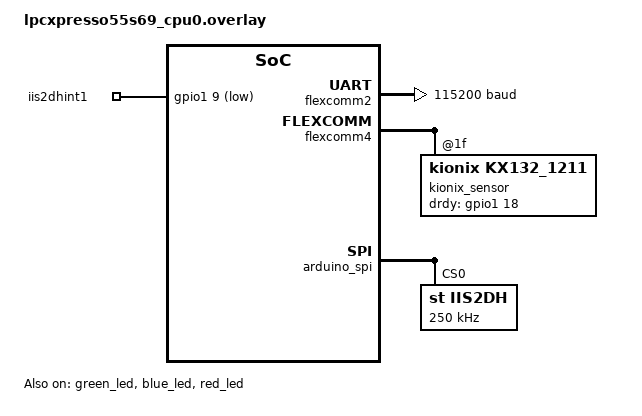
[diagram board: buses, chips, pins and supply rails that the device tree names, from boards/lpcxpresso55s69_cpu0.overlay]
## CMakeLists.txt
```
# ----------------------------------------------------------------------
# 
#   Project:  Kionix driver demo
# 
#   File:  CMakeLists.txt
# 
#   SPDX-License-Identifier: Apache-2.0
# 
#   Copyright (c) Neela Nurseries 2021 - 2022
# 
# ----------------------------------------------------------------------



#-----------------------------------------------------------------------
# - SECTION - the four stanzas from a Zephyr 'hello_world' simple app
#-----------------------------------------------------------------------

cmake_minimum_required(VERSION 3.20.0)

find_package(Zephyr REQUIRED HINTS $ENV{ZEPHYR_BASE})
project(kionix-demo-minimal)

#target_sources(app PRIVATE src/main.c)



#-----------------------------------------------------------------------
# - SECTION - development messages
#-----------------------------------------------------------------------

message(STATUS "- DEV 0923 - variable ZEPHYR_BASE holds '${ZEPHYR_BASE}'")



#-----------------------------------------------------------------------
# - SECTION - project sources
#-----------------------------------------------------------------------

# Originally called Kionix out-of-tree driver code (no new thread yet created to do this):
target_sources(app PRIVATE src/main.c)




## 2021-11-11
## https://stackoverflow.com/questions/31343813/displaying-cmake-variables

macro(print_all_variables)
    message(STATUS "print_all_variables------------------------------------------{")
    get_cmake_property(_variableNames VARIABLES)
    foreach (_variableName ${_variableNames})
        message(STATUS "${_variableName}=${${_variableName}}")
    endforeach()
    message(STATUS "print_all_variables------------------------------------------}")
endmacro()

#print_all_variables()


# --- end of CMakeLists.txt file ---
```

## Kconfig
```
# ----------------------------------------------------------------------
# 
#   Project:  Kionix driver demo
# 
#   File:  Kconfig
# 
#   SPDX-License-Identifier: Apache-2.0
# 
#   Copyright (c) Neela Nurseries 2021 - 2022
# 
##----------------------------------------------------------------------


mainmenu "Kionix Driver Demo -- samples -- kionix demo minimal"

source "Kconfig.zephyr"
```

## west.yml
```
manifest:
  remotes:
    - name: zephyrproject-rtos
      url-base: https://github.com/zephyrproject-rtos

  projects:
    - name: zephyr
      repo-path: zephyr
      remote: zephyrproject-rtos
      revision: v3.2.0
      import: true

    # Drivers repository
    - name: zephyr-driver-work-v2
      path: kionix-drivers
      revision: main
      url: https://github.com/tedhavelka/zephyr-driver-work-v2
#      import: true   ...2021-08-26 for some reason this should be commented out - TMH

  self:
    # This repository should be cloned to 
    path: kionix-driver-demo
```

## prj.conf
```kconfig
# ----------------------------------------------------------------------
# 
#   Project:  Kionix driver demo
# 
#   File:  prj.conf
# 
#   SPDX-License-Identifier: Apache-2.0
# 
#   Copyright (c) Neela Nurseries 2021 - 2022
# 
# ----------------------------------------------------------------------



##----------------------------------------------------------------------
## - SECTION - memory 
##----------------------------------------------------------------------

# Heap and stacks
CONFIG_INIT_STACKS=y
CONFIG_MAIN_STACK_SIZE=2048


##----------------------------------------------------------------------
## - SECTION - logging and diag support
##----------------------------------------------------------------------

# Logging
CONFIG_LOG=y
CONFIG_LOG_MODE_IMMEDIATE=y
CONFIG_SERIAL=y
CONFIG_CONSOLE=y
CONFIG_UART_CONSOLE=y
CONFIG_LOG_BACKEND_UART=y



##----------------------------------------------------------------------
## - SECTION - peripherals and on-chip functions
##----------------------------------------------------------------------

# CONFIG_SENSOR_LOG_LEVEL_DBG=y

# GPIO
CONFIG_GPIO=y

# Sensor related
CONFIG_I2C=y
CONFIG_SPI=y
CONFIG_SENSOR=y

CONFIG_KX132_1211=y



# --- EOF ---
```

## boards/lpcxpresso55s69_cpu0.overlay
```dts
/*
# lpc55x69 dev kit dts file of interest is zephyr/boards/arm/lpcxpresso55s69/lpcxpresso55s69.dtsi
*/

/ {
    aliases {
        uart2 = &flexcomm2;
        i2c0 = &flexcomm4;
        sensorinterrupt1 = &iis2dhint1;
        kx132-instance-1 = &kionix_sensor;
    };
};



/*
# Reference - file where flexcomm nodes enabled for lpc55s69 MCU:
# zephyr/boards/arm/lpcxpresso55s69/lpcxpresso55s69_cpu0.dts
#
# In spite of comment at
# REF https://github.com/zephyrproject-rtos/zephyr/blob/main/boards/arm/lpcxpresso55s69/lpcxpresso55s69-pinctrl.dtsi#L21
# SPI transceive calls work as expected with &flexcomm2 enabled as UART device - TMH
*/

&flexcomm2 {
    compatible = "nxp,lpc-usart";
    current-speed = <115200>;
    status = "okay";
};



/*
# See actinius_icarus_common.dts for example of calling out interrupt
#  lines for related LIS2DH sensor.
# See LPCXpresso55S69_Board_Schematic_RevA2_dec4.pdf for GPIOs available
#  on lpcxpresso55s69 dev kit.
*/

&flexcomm4 {
        kionix_sensor: kx132@1f {                /* kx132_1211@1f { */
                compatible = "kionix,kx132_1211";
                reg = <0x1F>;
                drdy-gpios = <&gpio1 18 GPIO_ACTIVE_HIGH>;
/*
#                irq-gpios = <&gpio1 18 GPIO_ACTIVE_HIGH>;
*/
        };

/*
# Note:  Ted unsure whether 'interrupt-parent' node property needed to support interrupts */
/*
#        stmicro_sensor: iis2dh@18 {
#                compatible = "st,iis2dh";
#                reg = <0x18>;
#                interrupt-parent = <&gpio1>;
#                drdy-gpios = <&gpio1 9 GPIO_ACTIVE_LOW>, <&gpio1 10 GPIO_ACTIVE_LOW>;
#        };
*/
};



/*
# 2022-11-08 work to manually add an interrupt in Zephyr code testing IIS2DH, outside of sensor API calls.
# Note:  idea and code here borrowed from zephyr/samples/basic/button project.
*/

/ {
        sensor_interrupts {
                compatible = "gpio-keys";
                iis2dhint1: iis2dh_int1 {
                        gpios = < &gpio1 9 (GPIO_PULL_UP | GPIO_ACTIVE_LOW)>;
                };
                /* ... other buttons ... */
        };
};



/*
# ----------------------------------------------------------------------
# 2022-11-09 - Move of IIS2DH from I2C bus to SPI bus . . .
# REF zephyr/boards/arm/lpcxpresso55s69/lpcxpresso55s69.dtsi
# Note, 'arduino_spi' is a nodelabel for &hs_lspi, defined as follows:
#
# 207 &hs_lspi {
# 208         pinctrl-0 = <&pinmux_hs_lspi_default>;
# 209         pinctrl-names = "default";
# 210 };
#
# some further definition of &hs_lspi node in file ___:
#
# 122 &hs_lspi {
# 123         status = "okay";
# 124         dmas = <&dma0 2>, <&dma0 3>;
# 125         dma-names = "rx", "tx";
# 126         cs-gpios = <&gpio1 1 GPIO_ACTIVE_LOW>;
# 127 };
#
# Compilation artifact [project]/build/zephyr/zephyr.dts shows some additional
# dts node properties but the important thing is that we can see from
# these two NXP dts board files that &hs_lspi is enabled.
# ----------------------------------------------------------------------
*/

&arduino_spi {
        status = "okay";
/*
#        cs-gpios = <&arduino_header 16 GPIO_ACTIVE_LOW>;    . . . note spi-controller.yaml says <cs-gpios> optional - TMH
*/
        iis2dh@0 {
                compatible = "st,iis2dh";
                reg = <0>;
                spi-max-frequency = <250000>; /* conservatively set to 1MHz */
                status = "okay";
        };
};



&green_led {
    status = "okay";
};

&blue_led {
    status = "okay";
};

&red_led {
    status = "okay";
};
```

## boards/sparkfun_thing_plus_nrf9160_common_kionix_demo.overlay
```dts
/*
 *
 * @file   sparkfun_thing_plus_nrf9160_common_kionix_demo.overlay
 * SPDX-License-Identifier: Apache-2.0
 */

//----------------------------------------------------------------------
// Purpose:  enable second UART on nRF9160, for communications separate
//   from CP2102N USB-to-serial interface on UART0:
//----------------------------------------------------------------------

&uart0 {
        current-speed = <115200>;
};

&uart2 {
        status = "okay";
        current-speed = <115200>;
        tx-pin = <24>;
        rx-pin = <23>;
};


// 2021-10-26 - assuring I2C1 peripheral is clocked at 400kHZ, default
//   value in sparkfun_thing_plus_nrf9106.dts file is 100kHZ:
// # 0x61A80 = 400000, clock-frequency = < 0x186a0 >;

&i2c1 {
        clock-frequency = < 0x61A80 >;
};
```

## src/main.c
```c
/*
# ----------------------------------------------------------------------
# 
#   Project:  Kionix driver demo
# 
#   File:  main.c
# 
#   SPDX-License-Identifier: Apache-2.0
# 
#   Copyright (c) Neela Nurseries 2021 - 2022
# 
# ----------------------------------------------------------------------
*/



#define SLEEP_TIME_MS 1000
#define DEFAULT_MESSAGE_SIZE 240

// Demo / early development tests:
#define DEV_TEST__FETCH_AND_GET_MANUFACTURER_ID    (1)
#define DEV_TEST__FETCH_AND_GET_PART_ID            (1)
#define DEV_TEST__FETCH_ACCELEROMETER_READINGS_XYZ (1)



#include <stdio.h>                 // to provide snprintf()

#include <zephyr/kernel.h>

#include <zephyr/device.h>         // to provide DEVICE_DT_GET macro and many related

#include <zephyr/drivers/sensor.h> // to provide 'struct sensor_value'

// https://docs.zephyrproject.org/latest/services/logging/index.html#c.LOG_MODULE_REGISTER
#include <zephyr/logging/log.h>
LOG_MODULE_REGISTER(kionix_driver_demo, LOG_LEVEL_DBG);



#include <kx132-1211.h>



//----------------------------------------------------------------------
// - SECTION - data structures in Kionix driver dev work
//----------------------------------------------------------------------

union generic_data_four_bytes_union_t {
    char as_string[sizeof(int)];
    uint8_t as_bytes[sizeof(int)];
    uint32_t as_32_bit_integer;
};





void main(void)
{

    printk("Kionix driver demo starting, on board %s . . .\n", CONFIG_BOARD);


// --- VAR BEGIN ---

    struct sensor_value value;  // sensor_value is struct with two uint32_t's, val1 and val2

    struct sensor_value requested_config;

    int sensor_api_status = 0;

    union generic_data_four_bytes_union_t data_from_sensor;
    uint32_t i = 0;

    int main_loop_count = 0;
    char lbuf[DEFAULT_MESSAGE_SIZE];

// If you want a shorthand for specific KX132 expansion in DT_NODELABEL macro
// you may define a symbol for your app this way:

#define KX132_NODE DT_NODELABEL(kionix_sensor)

    const struct device *dev_accelerometer = DEVICE_DT_GET(DT_NODELABEL(kionix_sensor));

// --- VAR END ---


// - STEP - check whether we get a non-null device handle, then check whether device ready

    if (dev_accelerometer == NULL)
    {
        printk("-\n- WARNING - Failed to init Kionix sensor device pointer!\n-\n");
    }
    else
    {
        if (!device_is_ready(dev_accelerometer))
        {
            snprintf(lbuf, sizeof(lbuf), "Device %s is not ready\n", dev_accelerometer->name);
            printk("%s", lbuf);
            return;
        }
        else
        {
            printk("- SUCCESS - found Kionix accelerometer and device is ready\n");
        }
    }


// - STEP - configure a couple of KX132 accelerometer settings

    if (dev_accelerometer != NULL)
    {
        if (1) // if ( DEV_TEST__ENABLE_KX132_1211_ASYNCHRONOUS_READINGS == 1 )
        {
            requested_config.val1 = KX132_ENABLE_ASYNC_READINGS;

            sensor_api_status = sensor_attr_set(
              dev_accelerometer,
              SENSOR_CHAN_ALL,
              SENSOR_ATTR_PRIV_START,          
              &requested_config
            );
        }

        if (1) // ( DEV_TEST__SET_KX132_1211_OUTPUT_DATA_RATE == 1 )
        {
            requested_config.val1 = KX132_ENABLE_ASYNC_READINGS;
            requested_config.val2 = KX132_ODR_3200_HZ;

            sensor_api_status = sensor_attr_set(
              dev_accelerometer,
              SENSOR_CHAN_ALL,
              SENSOR_ATTR_PRIV_START,          
              &requested_config
            );
        }
    }


    while ( 1 )
    {

        if ( dev_accelerometer != NULL )
        {

            if ( DEV_TEST__FETCH_AND_GET_MANUFACTURER_ID )
            {
                sensor_sample_fetch_chan(dev_accelerometer, SENSOR_CHAN_KIONIX_MANUFACTURER_ID);
                sensor_channel_get(dev_accelerometer, SENSOR_CHAN_KIONIX_MANUFACTURER_ID, &value);

                snprintf(lbuf, sizeof(lbuf), "main.c - Kionix sensor reports its manufacturer ID, as 32-bit integer %d\n",
                  value.val1);
                printk("%s", lbuf);
                snprintf(lbuf, sizeof(lbuf), "main.c - sensor_value.val2 holds %d\n", value.val2);
                printk("%s", lbuf);
                data_from_sensor.as_32_bit_integer = value.val1;

                printk("main.c - value.val1 as bytes:  ");
                for ( i = 0; i < sizeof(int); i++ )
                {
                    snprintf(lbuf, sizeof(lbuf), "0x%2X ", data_from_sensor.as_bytes[i]);
                    printk("%s", lbuf);
                }
                printk("  \"");
                for ( i = 0; i < sizeof(int); i++ )
                {
                    snprintf(lbuf, sizeof(lbuf), " %c ", data_from_sensor.as_bytes[i]);
                    printk("%s", lbuf);
                }
                snprintf(lbuf, sizeof(lbuf), "\"\n");
                printk("%s", lbuf);
            }

            if ( DEV_TEST__FETCH_AND_GET_PART_ID )
            {
                sensor_sample_fetch_chan(dev_accelerometer, SENSOR_CHAN_KIONIX_PART_ID);
                sensor_channel_get(dev_accelerometer, SENSOR_CHAN_KIONIX_PART_ID, &value);
                snprintf(lbuf, sizeof(lbuf), "main.c - Kionix sensor reports part ID of %d\n",
                  value.val1);
                printk("%s", lbuf);
            }


            if ( DEV_TEST__FETCH_ACCELEROMETER_READINGS_XYZ )
            {
                sensor_api_status = sensor_sample_fetch_chan(dev_accelerometer, SENSOR_CHAN_ACCEL_XYZ);
                sensor_channel_get(dev_accelerometer, SENSOR_CHAN_ACCEL_XYZ, &value);
                snprintf(lbuf, sizeof(lbuf), "main.c - Kionix sensor x,y,z readings encoded:  0x%08x, 0x%08x\n\n",
                  value.val1, value.val2);
                printk("%s", lbuf);
            }

        } 
        else 
        {
            snprintf(lbuf, sizeof(lbuf), "- WARNING - problem initializing KX132 Zephyr device pointer,\n");
            printk("%s", lbuf);
            snprintf(lbuf, sizeof(lbuf), "- WARNING + therefore not exercising features of this sensor.\n\n");
            printk("%s", lbuf);
        } // if dev_accelerometer != NULL

        k_msleep(SLEEP_TIME_MS);
        ++main_loop_count;
    } 
}
```
